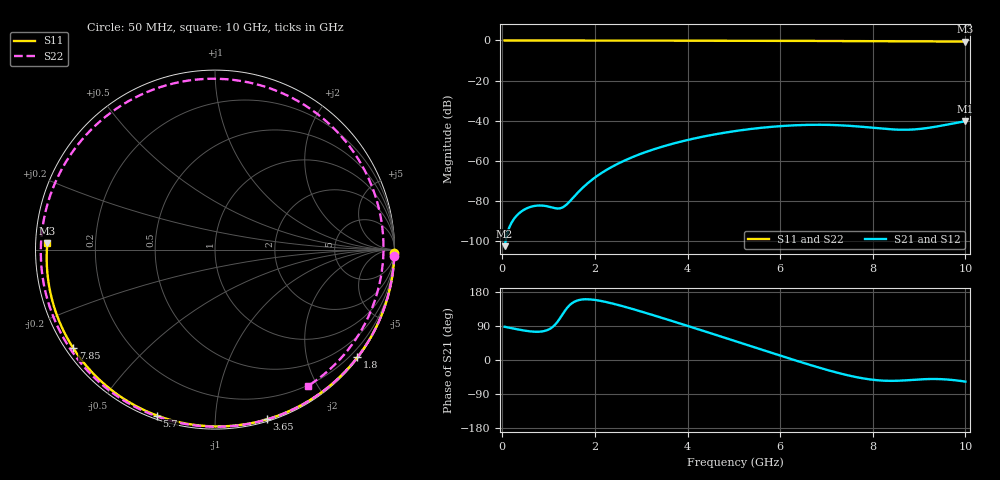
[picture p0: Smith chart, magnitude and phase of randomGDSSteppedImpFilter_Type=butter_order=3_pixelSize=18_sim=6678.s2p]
! freq	dB(S11)	phase(S11)	dB(S12)	phase(S12)
!  dB(S21)	phase(S21)	dB(S22)	phase(S22)
!S-par simulation data
#  GHz  S  DB  R 50
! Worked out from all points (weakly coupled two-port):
!   200 points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, 50 MHz to 10 GHz, reference 50 ohm
!   highest |S21| = -40.27 dB at 10 GHz (marker M1); lowest = -102.6 dB at 50 MHz (marker M2)
!   lowest |S11| = -0.6 dB at 10 GHz (marker M3), VSWR 29.70, Z = 1.68 + j0.997 ohm
!   |S11| at or under -10 dB: nowhere
!   |S22| runs from -0.7 to 0.0 dB; largest |S21 - S12| = 0
!   S11 on the Smith chart (normalised r, x): 50 MHz: open; 1.8 GHz: 0.03, -2.98; 3.65 GHz: 0.02, -1.35; 5.7 GHz: 0.02, -0.71; 7.85 GHz: 0.02, -0.31; 10 GHz: 0.03, +0.02
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0.05  -0.00 -1.1  -102.59 87.7  -102.59 87.7  -0.00 -1.9
0.7  -0.02 -14.6  -82.52 74.6  -82.52 74.6  -0.03 -26.5
1.45  -0.04 -30.1  -80.42 144.3  -80.42 144.3  -0.07 -54.3
1.75  -0.05 -36.1  -73.15 160.0  -73.15 160.0  -0.08 -65.2
1.8  -0.05 -37.1  -72.10 160.3  -72.10 160.3  -0.08 -67.0
2.1  -0.05 -43.1  -66.76 156.5  -66.76 156.5  -0.10 -77.8
2.45  -0.06 -50.0  -62.02 146.8  -62.02 146.8  -0.11 -90.2
2.9  -0.08 -58.8  -57.35 131.5  -57.35 131.5  -0.13 -106.1
3.4  -0.09 -68.3  -53.35 113.0  -53.35 113.0  -0.16 -123.6
3.65  -0.10 -72.9  -51.68 103.5  -51.68 103.5  -0.17 -132.5
4.4  -0.12 -86.6  -47.66 74.6  -47.66 74.6  -0.22 -159.5
5.05  -0.15 -98.1  -45.11 49.1  -45.11 49.1  -0.27 175.9
5.7  -0.18 -109.3  -43.32 23.5  -43.32 23.5  -0.32 149.3
6.25  -0.21 -118.5  -42.38 2.0  -42.38 2.0  -0.37 124.9
6.7  -0.24 -126.1  -42.06 -15.0  -42.06 -15.0  -0.41 103.6
7.25  -0.29 -135.2  -42.26 -34.0  -42.26 -34.0  -0.45 76.1
7.85  -0.34 -145.1  -43.23 -49.7  -43.23 -49.7  -0.48 45.1
8.35  -0.39 -153.5  -44.25 -55.0  -44.25 -55.0  -0.52 19.5
8.7  -0.42 -159.4  -44.54 -53.8  -44.54 -53.8  -0.54 2.1
9.1  -0.47 -166.3  -43.90 -50.7  -43.90 -50.7  -0.59 -16.8
9.55  -0.53 -174.2  -42.22 -51.0  -42.22 -51.0  -0.65 -36.9
10  -0.59 177.7  -40.27 -57.0  -40.27 -57.0  -0.73 -55.6
